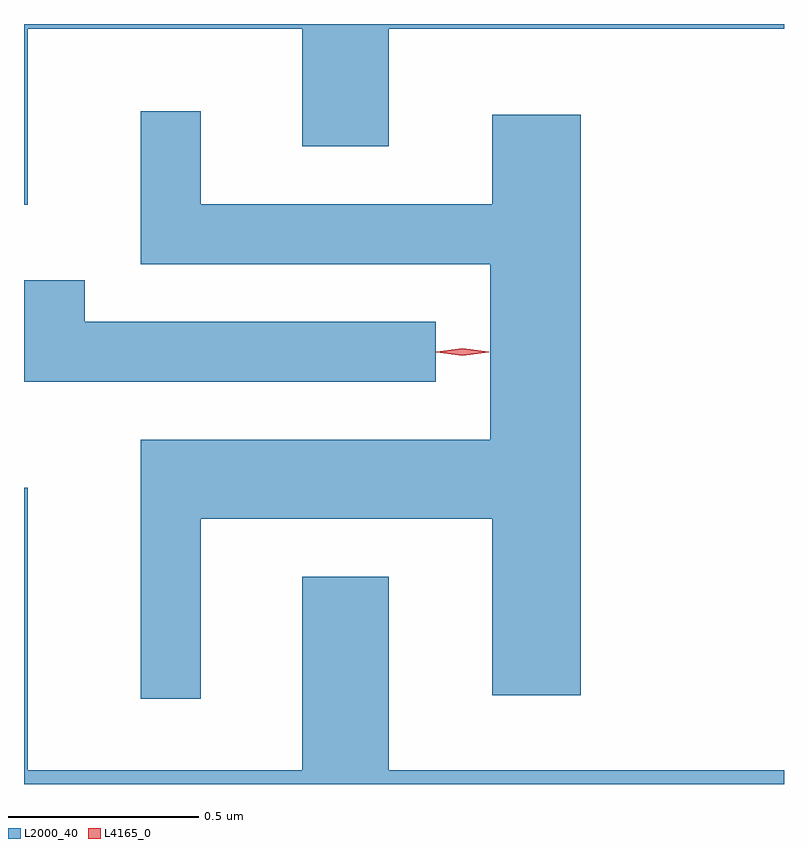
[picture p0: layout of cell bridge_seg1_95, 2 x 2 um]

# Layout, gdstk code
import gdstk
lib = gdstk.Library(unit=1e-6, precision=1e-09)
def P(c, l, *ps):  # polygons
    for p in ps: c.add(gdstk.Polygon(p, *l))
L2000_40 = (2000, 40)
L4165_0 = (4165, 0)

bridge_seg1_95 = lib.new_cell('bridge_seg1_95')
P(bridge_seg1_95, L2000_40, [(1197.499,948.416),(1198.221,948.416),(1198.221,948.106),(1198.449,948.106),(1198.449,948.416),(1199.489,948.416),(1199.489,948.428),(1197.489,948.428),(1197.489,947.953),(1197.499,947.953)],
  [(1197.954,947.126),(1198.721,947.126),(1198.721,946.661),(1198.954,946.661),(1198.954,948.189),(1198.721,948.189),(1198.721,947.954),(1197.954,947.954),(1197.954,948.198),(1197.796,948.198),(1197.796,947.796),(1198.716,947.796),(1198.716,947.334),(1197.796,947.334),(1197.796,946.653),(1197.954,946.653)],
  [(1198.573,947.644),(1197.649,947.644),(1197.649,947.754),(1197.489,947.754),(1197.489,947.486),(1198.573,947.486)],
  [(1199.489,946.464),(1198.449,946.464),(1198.449,946.974),(1198.221,946.974),(1198.221,946.464),(1197.499,946.464),(1197.499,947.208),(1197.489,947.208),(1197.489,946.428),(1199.489,946.428)])
P(bridge_seg1_95, L4165_0, [(1198.643,947.555),(1198.574,947.564),(1198.573,947.565),(1198.574,947.565),(1198.643,947.575),(1198.712,947.565),(1198.712,947.565),(1198.712,947.564)],
  [(1198.644,947.555),(1198.578,947.564),(1198.577,947.565),(1198.578,947.565),(1198.644,947.575),(1198.709,947.565),(1198.71,947.565),(1198.709,947.564)])

lib.write_gds('bridge_seg1_95.gds')
